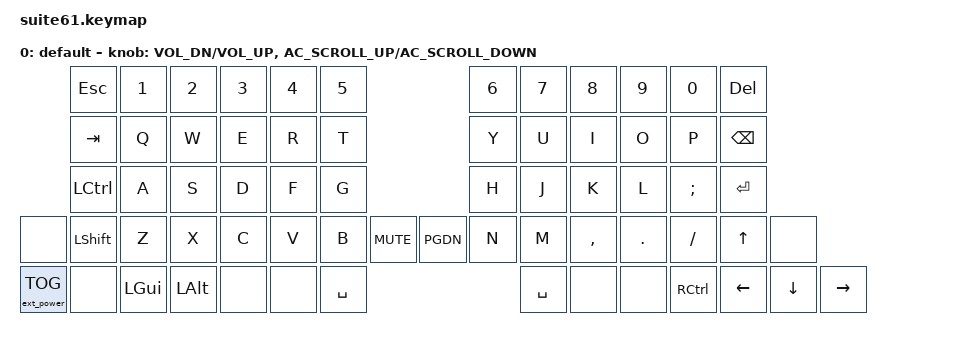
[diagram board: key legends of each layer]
// suite61.keymap

#include <behaviors.dtsi>
#include <dt-bindings/zmk/keys.h>
#include <dt-bindings/zmk/ext_power.h>

/ {
    keymap {
        compatible = "zmk,keymap";
        default {
    //              |    ESC    |     1     |     2     |     3     |     4     |     5     |                       |     6     |     7     |     8     |     9     |     0     |   DELETE  |
    //              |    TAB    |     Q     |     W     |     E     |     R     |     T     |                       |     Y     |     U     |     I     |     O     |     P     | BACKSPACE |
    //              |  CONTROL  |     A     |     S     |     D     |     F     |     G     |                       |     H     |     J     |     K     |     L     |     ;     |   ENTER   |           
    //  |   NONE    |   SHIFT   |     Z     |     X     |     C     |     V     |     B     |   ENC0    |    ENC1   |     N     |     M     |     ,     |     .     |     /     |    UP     |    FN     |
    //  |   NONE    |   TRANS   |    GUI    |    ALT    |   LOWER   |    NONE   |           |   SPACE   |   SPACE   |           |   RAISE   |   SUPER   |  CONTROL  |    LEFT   |    DOWN   |   RIGHT   |
            bindings = <
                        &kp ESC     &kp 1       &kp 2       &kp 3       &kp 4       &kp 5                               &kp 6       &kp 7       &kp 8       &kp 9       &kp 0       &kp DEL
                        &kp TAB     &kp Q       &kp W       &kp E       &kp R       &kp T                               &kp Y       &kp U       &kp I       &kp O       &kp P       &kp BSPC
                        &kp LCTRL   &kp A       &kp S       &kp D       &kp F       &kp G                               &kp H       &kp J       &kp K       &kp L       &kp SEMI    &kp ENTER
            &none       &kp LSHIFT  &kp Z       &kp X       &kp C       &kp V       &kp B     &kp C_MUTE   &kp PGDN     &kp N       &kp M       &kp COMMA   &kp DOT     &kp FSLH    &kp UP      &none    
            &ext_power EP_TOG       &none       &kp LGUI    &kp LALT    &none       &none                 &kp SPACE    &kp SPACE                &none       &none       &kp RCTRL   &kp LEFT    &kp DOWN    &kp RIGHT
            >;

            sensor-bindings = <&inc_dec_kp C_VOL_DN C_VOL_UP                                                            &inc_dec_kp C_AC_SCROLL_UP C_AC_SCROLL_DOWN>;
        };

    };
};

nice_view_spi: &spi0 {
    compatible = "nordic,nrf-spim";
    pinctrl-0 = <&spi0_default>;
    pinctrl-1 = <&spi0_sleep>;
    pinctrl-names = "default", "sleep";
    cs-gpios = <&gpio0 8 GPIO_ACTIVE_HIGH>;
};
